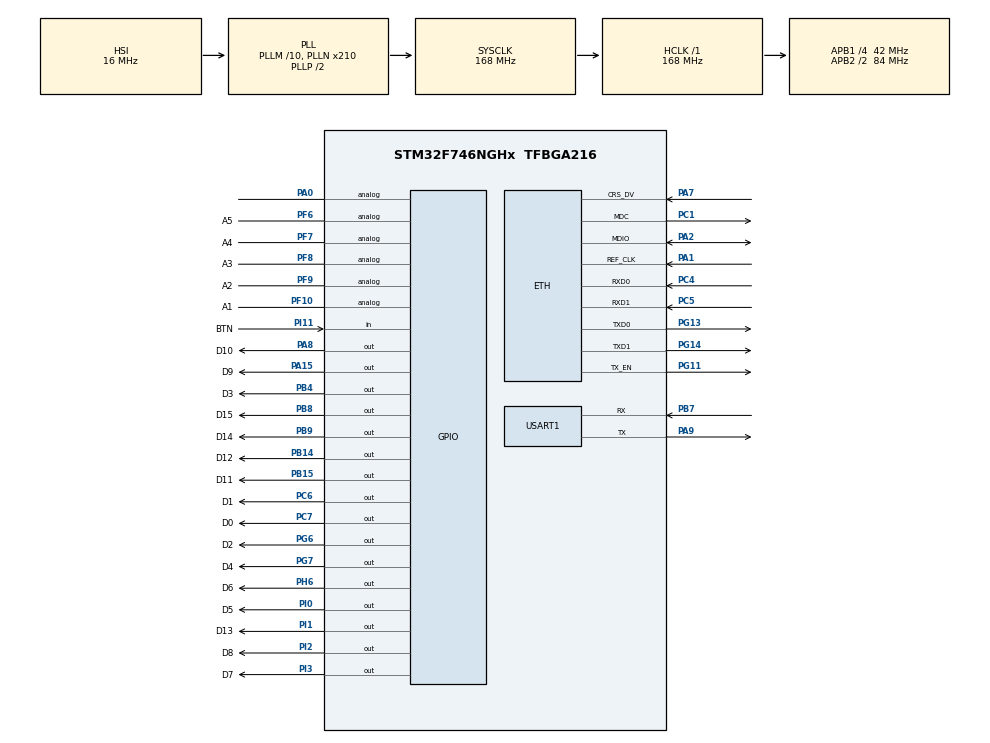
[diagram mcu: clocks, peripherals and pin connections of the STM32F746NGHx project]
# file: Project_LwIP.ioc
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ETH.MACAddr=00\:80\:E1\:00\:00\:42
ETH.MediaInterface=HAL_ETH_RMII_MODE
ETH.RxMode=ETH_RXPOLLING_MODE
LWIP.BSP.number=1
LWIP.GATEWAY_ADDRESS=192.168.001.001
LWIP.HTTPD_USE_CUSTOM_FSDATA=1
LWIP.IP_ADDRESS=192.168.001.100
LWIP.LWIP_DHCP=0
LWIP.LWIP_HTTPD=1
LWIP.LWIP_HTTPD_CGI=1
LWIP.LWIP_HTTPD_CGI_SSI=0
LWIP.LWIP_HTTPD_CUSTOM_FILES=0
LWIP.LWIP_HTTPD_DYNAMIC_HEADERS=1
LWIP.LWIP_HTTPD_SSI=1
LWIP.LWIP_HTTPD_SUPPORT_11_KEEPALIVE=1
LWIP.LWIP_HTTPD_SUPPORT_POST=0
LWIP.MEMP_NUM_TCP_SEG=32
LWIP.NETMASK_ADDRESS=255.255.255.000
LWIP.TCP_SND_BUF=4096
LWIP.TCP_WND=4096
LWIP.Version=v2.1.2_Cube
LWIP0.BSP.STBoard=false
LWIP0.BSP.api=BSP_COMPONENT_DRIVER
LWIP0.BSP.component=LAN8742
LWIP0.BSP.instance=LAN8742
LWIP0.BSP.name=Driver_PHY
LWIP0.BSP.semaphore=S_LAN8742
LWIP0.BSP.solution=LAN8742
Mcu.Family=STM32F7
Mcu.Name=STM32F746NGHx
Mcu.Package=TFBGA216
NVIC.PriorityGroup=NVIC_PRIORITYGROUP_4
PA0/WKUP.Signal=SharedAnalog_PA0
PA1.Mode=RMII
PA1.Signal=ETH_REF_CLK
PA15.GPIO_Label=D9
PA15.Signal=GPIO_Output
PA2.Mode=RMII
PA2.Signal=ETH_MDIO
PA7.Mode=RMII
PA7.Signal=ETH_CRS_DV
PA8.GPIO_Label=D10
PA8.Signal=GPIO_Output
PA9.Mode=Asynchronous
PA9.Signal=USART1_TX
PB14.GPIO_Label=D12
PB14.Signal=GPIO_Output
PB15.GPIO_Label=D11
PB15.Signal=GPIO_Output
PB4.GPIO_Label=D3
PB4.Signal=GPIO_Output
PB7.Mode=Asynchronous
PB7.Signal=USART1_RX
PB8.GPIO_Label=D15
PB8.Signal=GPIO_Output
PB9.GPIO_Label=D14
PB9.Signal=GPIO_Output
PC1.Mode=RMII
PC1.Signal=ETH_MDC
PC14/OSC32_IN.Mode=LSE-External-Oscillator
PC14/OSC32_IN.Signal=RCC_OSC32_IN
PC15/OSC32_OUT.Mode=LSE-External-Oscillator
PC15/OSC32_OUT.Signal=RCC_OSC32_OUT
PC4.Mode=RMII
PC4.Signal=ETH_RXD0
PC5.Mode=RMII
PC5.Signal=ETH_RXD1
PC6.GPIO_Label=D1
PC6.Signal=GPIO_Output
PC7.GPIO_Label=D0
PC7.Signal=GPIO_Output
PF10.GPIO_Label=A1
PF10.Signal=SharedAnalog_PF10
PF6.GPIO_Label=A5
PF6.Signal=SharedAnalog_PF6
PF7.GPIO_Label=A4
PF7.Signal=SharedAnalog_PF7
PF8.GPIO_Label=A3
PF8.Signal=SharedAnalog_PF8
PF9.GPIO_Label=A2
PF9.Signal=SharedAnalog_PF9
PG11.Mode=RMII
PG11.Signal=ETH_TX_EN
PG13.Mode=RMII
PG13.Signal=ETH_TXD0
PG14.Mode=RMII
PG14.Signal=ETH_TXD1
PG6.GPIO_Label=D2
PG6.Signal=GPIO_Output
PG7.GPIO_Label=D4
PG7.Signal=GPIO_Output
PH0/OSC_IN.Mode=HSE-External-Oscillator
PH0/OSC_IN.Signal=RCC_OSC_IN
PH1/OSC_OUT.Mode=HSE-External-Oscillator
PH1/OSC_OUT.Signal=RCC_OSC_OUT
PH6.GPIO_Label=D6
PH6.Signal=GPIO_Output
PI0.GPIO_Label=D5
PI0.Signal=GPIO_Output
PI1.GPIO_Label=D13
PI1.Signal=GPIO_Output
PI11.GPIO_Label=BTN
PI11.Signal=GPIO_Input
PI2.GPIO_Label=D8
PI2.Signal=GPIO_Output
PI3.GPIO_Label=D7
PI3.Signal=GPIO_Output
ProjectManager.HeapSize=0x200
ProjectManager.StackSize=0x400
ProjectManager.TargetToolchain=STM32CubeIDE
RCC.AHBFreq_Value=168000000
RCC.APB1CLKDivider=RCC_HCLK_DIV4
RCC.APB1Freq_Value=42000000
RCC.APB1TimFreq_Value=84000000
RCC.APB2CLKDivider=RCC_HCLK_DIV2
RCC.APB2Freq_Value=84000000
RCC.APB2TimFreq_Value=168000000
RCC.CortexFreq_Value=168000000
RCC.HCLKFreq_Value=168000000
RCC.HSE_VALUE=25000000
RCC.HSI_VALUE=16000000
RCC.PLLM=10
RCC.PLLN=210
RCC.PLLSourceVirtual=RCC_PLLSOURCE_HSI
RCC.SYSCLKFreq_VALUE=168000000
RCC.SYSCLKSource=RCC_SYSCLKSOURCE_PLLCLK
RCC.USBFreq_Value=168000000
RCC.VCOOutputFreq_Value=336000000
SH.SharedAnalog_PA0.0=GPIO_Analog
SH.SharedAnalog_PA0.1=ADC1_IN0
SH.SharedAnalog_PA0.2=ADC3_IN0
SH.SharedAnalog_PF10.0=GPIO_Analog
SH.SharedAnalog_PF10.1=ADC3_IN8
SH.SharedAnalog_PF6.0=GPIO_Analog
SH.SharedAnalog_PF6.1=ADC3_IN4
SH.SharedAnalog_PF7.0=GPIO_Analog
SH.SharedAnalog_PF7.1=ADC3_IN5
SH.SharedAnalog_PF8.0=GPIO_Analog
SH.SharedAnalog_PF8.1=ADC3_IN6
SH.SharedAnalog_PF9.0=GPIO_Analog
SH.SharedAnalog_PF9.1=ADC3_IN7
USART1.VirtualMode-Asynchronous=VM_ASYNC
VP_LWIP_VS_Enabled.Mode=Enabled
board=STM32F746G-DISCO

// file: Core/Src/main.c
/* USER CODE BEGIN Header */
/**
  ******************************************************************************
  * @file           : main.c
  * @brief          : Main program body
  ******************************************************************************
  * @attention
  *
  * Copyright (c) 2023 STMicroelectronics.
  * All rights reserved.
  *
  * This software is licensed under terms that can be found in the LICENSE file
  * in the root directory of this software component.
  * If no LICENSE file comes with this software, it is provided AS-IS.
  *
  ******************************************************************************
  */
/* USER CODE END Header */
#include "main.h"
#include "lwip.h"

/* USER CODE BEGIN Includes */
#include "echo_server.h"
#include "lwipopts.h"
#include "httpd_opts.h"
#include "cgi_ssi_handlers.h"

#include "lwip/err.h"
#include "lwip/pbuf.h"
#include "lwip/apps/httpd.h"
#include "lwip/apps/fs.h"
#include "lwip/opt.h"
#include <string.h>
/* USER CODE END Includes */

UART_HandleTypeDef huart1;

/* USER CODE BEGIN PV */
typedef unsigned short u16_t;
typedef unsigned char  u8_t;
/* USER CODE END PV */

void SystemClock_Config(void);
static void MX_GPIO_Init(void);
static void MX_USART1_UART_Init(void);

/* USER CODE BEGIN 0 */
int _write(int file, char *ptr, int len) {
	for(int i = 0; i < len; i++){
		if(ptr[i]=='\n'){
			HAL_UART_Transmit(&huart1, (uint8_t*)"\r", 1, HAL_MAX_DELAY);
		}
		HAL_UART_Transmit(&huart1, (uint8_t*)&ptr[i], 1, HAL_MAX_DELAY);
	}
    return len;
}
/* USER CODE END 0 */

int main(void)
{

  /* MCU Configuration--------------------------------------------------------*/

  /* Reset of all peripherals, Initializes the Flash interface and the Systick. */
  HAL_Init();

  /* Configure the system clock */
  SystemClock_Config();

  /* Initialize all configured peripherals */
  MX_GPIO_Init();
  MX_USART1_UART_Init();
  MX_LWIP_Init();
  /* USER CODE BEGIN 2 */
  echo_init();
  httpd_init();
  cgi_ssi_init();
  printf("Server stared\n");
  /* USER CODE END 2 */

  /* Infinite loop */
  while (1)
  {

    /* USER CODE BEGIN 3 */
	  MX_LWIP_Process();
	  //TODO: Write code to call the tcp_connect function each time the blue button is pressed.

  }
  /* USER CODE END 3 */
}

void SystemClock_Config(void)
{
  RCC_OscInitTypeDef RCC_OscInitStruct = {0};
  RCC_ClkInitTypeDef RCC_ClkInitStruct = {0};

  /** Configure LSE Drive Capability
  */
  HAL_PWR_EnableBkUpAccess();

  /** Configure the main internal regulator output voltage
  */
  __HAL_RCC_PWR_CLK_ENABLE();
  __HAL_PWR_VOLTAGESCALING_CONFIG(PWR_REGULATOR_VOLTAGE_SCALE2);

  /** Initializes the RCC Oscillators according to the specified parameters
  * in the RCC_OscInitTypeDef structure.
  */
  RCC_OscInitStruct.OscillatorType = RCC_OSCILLATORTYPE_HSI;
  RCC_OscInitStruct.HSIState = RCC_HSI_ON;
  RCC_OscInitStruct.HSICalibrationValue = RCC_HSICALIBRATION_DEFAULT;
  RCC_OscInitStruct.PLL.PLLState = RCC_PLL_ON;
  RCC_OscInitStruct.PLL.PLLSource = RCC_PLLSOURCE_HSI;
  RCC_OscInitStruct.PLL.PLLM = 10;
  RCC_OscInitStruct.PLL.PLLN = 210;
  RCC_OscInitStruct.PLL.PLLP = RCC_PLLP_DIV2;
  RCC_OscInitStruct.PLL.PLLQ = 2;
  if (HAL_RCC_OscConfig(&RCC_OscInitStruct) != HAL_OK)
  {
    Error_Handler();
  }

  /** Initializes the CPU, AHB and APB buses clocks
  */
  RCC_ClkInitStruct.ClockType = RCC_CLOCKTYPE_HCLK|RCC_CLOCKTYPE_SYSCLK
                              |RCC_CLOCKTYPE_PCLK1|RCC_CLOCKTYPE_PCLK2;
  RCC_ClkInitStruct.SYSCLKSource = RCC_SYSCLKSOURCE_PLLCLK;
  RCC_ClkInitStruct.AHBCLKDivider = RCC_SYSCLK_DIV1;
  RCC_ClkInitStruct.APB1CLKDivider = RCC_HCLK_DIV4;
  RCC_ClkInitStruct.APB2CLKDivider = RCC_HCLK_DIV2;

  if (HAL_RCC_ClockConfig(&RCC_ClkInitStruct, FLASH_LATENCY_5) != HAL_OK)
  {
    Error_Handler();
  }
}

static void MX_USART1_UART_Init(void)
{

  huart1.Instance = USART1;
  huart1.Init.BaudRate = 115200;
  huart1.Init.WordLength = UART_WORDLENGTH_8B;
  huart1.Init.StopBits = UART_STOPBITS_1;
  huart1.Init.Parity = UART_PARITY_NONE;
  huart1.Init.Mode = UART_MODE_TX_RX;
  huart1.Init.HwFlowCtl = UART_HWCONTROL_NONE;
  huart1.Init.OverSampling = UART_OVERSAMPLING_16;
  huart1.Init.OneBitSampling = UART_ONE_BIT_SAMPLE_DISABLE;
  huart1.AdvancedInit.AdvFeatureInit = UART_ADVFEATURE_NO_INIT;
  if (HAL_UART_Init(&huart1) != HAL_OK)
  {
    Error_Handler();
  }

}

static void MX_GPIO_Init(void)
{
  GPIO_InitTypeDef GPIO_InitStruct = {0};

  /* GPIO Ports Clock Enable */
  __HAL_RCC_GPIOG_CLK_ENABLE();
  __HAL_RCC_GPIOB_CLK_ENABLE();
  __HAL_RCC_GPIOA_CLK_ENABLE();
  __HAL_RCC_GPIOI_CLK_ENABLE();
  __HAL_RCC_GPIOC_CLK_ENABLE();
  __HAL_RCC_GPIOH_CLK_ENABLE();
  __HAL_RCC_GPIOF_CLK_ENABLE();

  /*Configure GPIO pin Output Level */
  HAL_GPIO_WritePin(GPIOB, D15_Pin|D3_Pin|D14_Pin|D12_Pin
                          |D11_Pin, GPIO_PIN_RESET);

  /*Configure GPIO pin Output Level */
  HAL_GPIO_WritePin(GPIOA, D9_Pin|D10_Pin, GPIO_PIN_RESET);

  /*Configure GPIO pin Output Level */
  HAL_GPIO_WritePin(GPIOI, D7_Pin|D8_Pin|D13_Pin|D5_Pin, GPIO_PIN_RESET);

  /*Configure GPIO pin Output Level */
  HAL_GPIO_WritePin(GPIOC, D0_Pin|D1_Pin, GPIO_PIN_RESET);

  /*Configure GPIO pin Output Level */
  HAL_GPIO_WritePin(GPIOG, D4_Pin|D2_Pin, GPIO_PIN_RESET);

  /*Configure GPIO pin Output Level */
  HAL_GPIO_WritePin(D6_GPIO_Port, D6_Pin, GPIO_PIN_RESET);

  /*Configure GPIO pins : D15_Pin D3_Pin D14_Pin D12_Pin
                           D11_Pin */
  GPIO_InitStruct.Pin = D15_Pin|D3_Pin|D14_Pin|D12_Pin
                          |D11_Pin;
  GPIO_InitStruct.Mode = GPIO_MODE_OUTPUT_PP;
  GPIO_InitStruct.Pull = GPIO_NOPULL;
  GPIO_InitStruct.Speed = GPIO_SPEED_FREQ_LOW;
  HAL_GPIO_Init(GPIOB, &GPIO_InitStruct);

  /*Configure GPIO pins : D9_Pin D10_Pin */
  GPIO_InitStruct.Pin = D9_Pin|D10_Pin;
  GPIO_InitStruct.Mode = GPIO_MODE_OUTPUT_PP;
  GPIO_InitStruct.Pull = GPIO_NOPULL;
  GPIO_InitStruct.Speed = GPIO_SPEED_FREQ_LOW;
  HAL_GPIO_Init(GPIOA, &GPIO_InitStruct);

  /*Configure GPIO pins : D7_Pin D8_Pin D13_Pin D5_Pin */
  GPIO_InitStruct.Pin = D7_Pin|D8_Pin|D13_Pin|D5_Pin;
  GPIO_InitStruct.Mode = GPIO_MODE_OUTPUT_PP;
  GPIO_InitStruct.Pull = GPIO_NOPULL;
  GPIO_InitStruct.Speed = GPIO_SPEED_FREQ_LOW;
  HAL_GPIO_Init(GPIOI, &GPIO_InitStruct);

  /*Configure GPIO pin : BTN_Pin */
  GPIO_InitStruct.Pin = BTN_Pin;
  GPIO_InitStruct.Mode = GPIO_MODE_INPUT;
  GPIO_InitStruct.Pull = GPIO_NOPULL;
  HAL_GPIO_Init(BTN_GPIO_Port, &GPIO_InitStruct);

  /*Configure GPIO pins : D0_Pin D1_Pin */
  GPIO_InitStruct.Pin = D0_Pin|D1_Pin;
  GPIO_InitStruct.Mode = GPIO_MODE_OUTPUT_PP;
  GPIO_InitStruct.Pull = GPIO_NOPULL;
  GPIO_InitStruct.Speed = GPIO_SPEED_FREQ_LOW;
  HAL_GPIO_Init(GPIOC, &GPIO_InitStruct);

  /*Configure GPIO pins : D4_Pin D2_Pin */
  GPIO_InitStruct.Pin = D4_Pin|D2_Pin;
  GPIO_InitStruct.Mode = GPIO_MODE_OUTPUT_PP;
  GPIO_InitStruct.Pull = GPIO_NOPULL;
  GPIO_InitStruct.Speed = GPIO_SPEED_FREQ_LOW;
  HAL_GPIO_Init(GPIOG, &GPIO_InitStruct);

  /*Configure GPIO pins : A4_Pin A5_Pin A1_Pin A2_Pin
                           A3_Pin */
  GPIO_InitStruct.Pin = A4_Pin|A5_Pin|A1_Pin|A2_Pin
                          |A3_Pin;
  GPIO_InitStruct.Mode = GPIO_MODE_ANALOG;
  GPIO_InitStruct.Pull = GPIO_NOPULL;
  HAL_GPIO_Init(GPIOF, &GPIO_InitStruct);

  /*Configure GPIO pin : PA0 */
  GPIO_InitStruct.Pin = GPIO_PIN_0;
  GPIO_InitStruct.Mode = GPIO_MODE_ANALOG;
  GPIO_InitStruct.Pull = GPIO_NOPULL;
  HAL_GPIO_Init(GPIOA, &GPIO_InitStruct);

  /*Configure GPIO pin : D6_Pin */
  GPIO_InitStruct.Pin = D6_Pin;
  GPIO_InitStruct.Mode = GPIO_MODE_OUTPUT_PP;
  GPIO_InitStruct.Pull = GPIO_NOPULL;
  GPIO_InitStruct.Speed = GPIO_SPEED_FREQ_LOW;
  HAL_GPIO_Init(D6_GPIO_Port, &GPIO_InitStruct);

}

void Error_Handler(void)
{
  __disable_irq();
  while (1)
  {
  }
}
